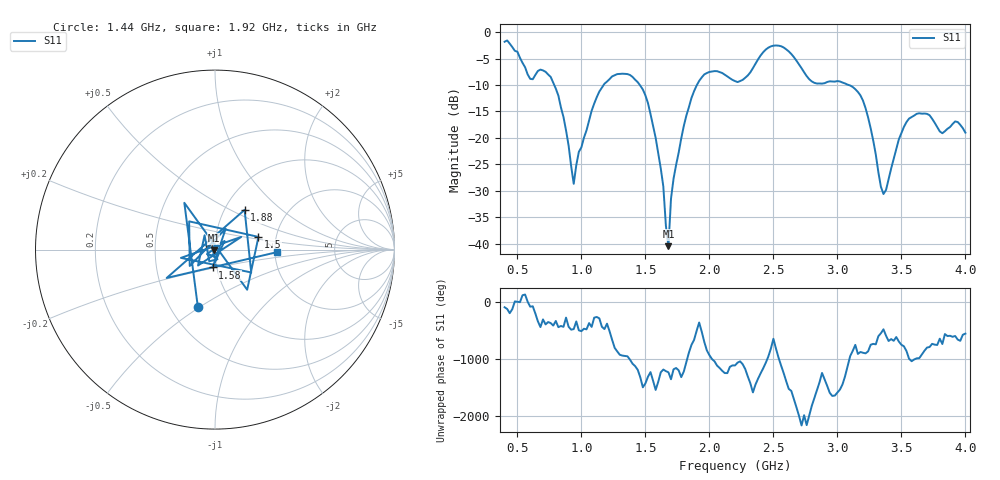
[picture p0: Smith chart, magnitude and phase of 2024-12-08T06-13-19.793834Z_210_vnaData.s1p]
!Created with skrf (http://scikit-rf.org).
# Hz S RI R 50.0
!freq ReS11 ImS11
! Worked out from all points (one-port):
!   181 points, 400 MHz to 4 GHz, reference 50 ohm
!   lowest |S11| = -40.5 dB at 1.68 GHz (marker M1), VSWR 1.02, Z = 49.2 - j0.46 ohm
!   |S11| at or under -10 dB: 787.9 MHz to 1.174 GHz (385.7 MHz wide, 39.3 % of centre); 1.456 GHz to 1.902 GHz (446.3 MHz wide, 26.6 % of centre); 3.088 GHz to end of sweep
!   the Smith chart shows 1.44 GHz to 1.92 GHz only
!   S11 on the Smith chart (normalised r, x): 1.44 GHz: 0.68, -0.49; 1.5 GHz: 1.62, +0.24; 1.58 GHz: 0.96, -0.19; 1.88 GHz: 1.24, +0.59; 1.92 GHz: 2.05, -0.07
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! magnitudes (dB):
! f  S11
! 400 MHz  -1.8
! 600 MHz  -8.8
! 760 MHz  -8.5
! 860 MHz  -16.1
! 940 MHz  -28.7
! 980 MHz  -22.6
! 1.12 GHz  -12.3
! 1.3 GHz  -7.9
! 1.44 GHz  -9.5
! 1.5 GHz  -12.0
! 1.58 GHz  -20.0
! 1.64 GHz  -29.2
! 1.68 GHz  -40.5
! 1.7 GHz  -31.5
! 1.76 GHz  -22.8
! 1.88 GHz  -11.2
! 1.92 GHz  -9.2
! 2.04 GHz  -7.4
! 2.2 GHz  -9.3
! 2.48 GHz  -2.7
! 2.66 GHz  -4.7
! 2.82 GHz  -9.6
! 3.1 GHz  -10.1
! 3.22 GHz  -14.4
! 3.36 GHz  -30.6
! 3.48 GHz  -20.3
! 3.56 GHz  -16.4
! 4 GHz  -19.0
